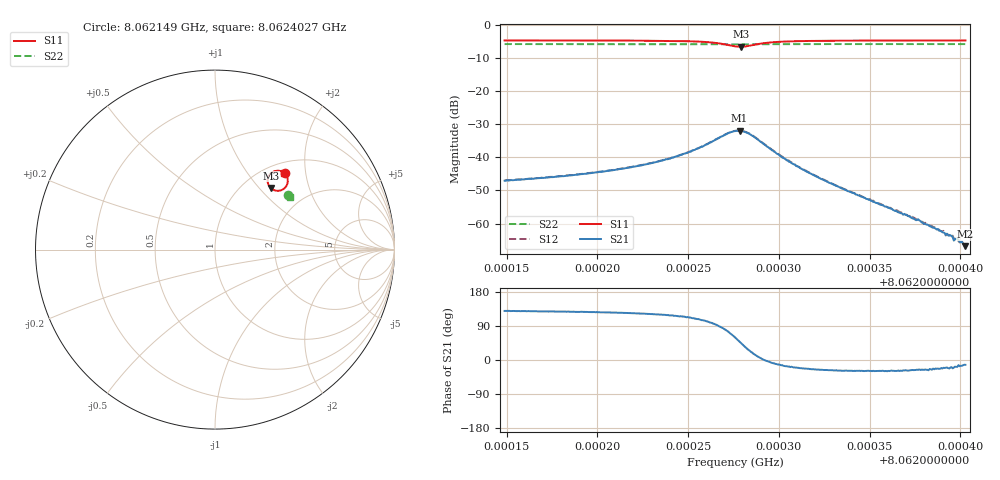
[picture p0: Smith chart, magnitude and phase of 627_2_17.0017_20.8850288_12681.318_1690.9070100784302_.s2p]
#  HZ  S  RI  R  50.00
! Rohde & Schwarz Vector Network Analyzer
! Rohde-Schwarz,ZNB20-2Port,1311601062101988,3.16
! Created: UTC 3/20/2024, 11:20:11 PM
! freq[Hz]  re:S11  im:S11  re:S21  im:S21  re:S12  im:S12  re:S22  im:S22
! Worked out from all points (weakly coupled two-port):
!   401 points, 8.062149 GHz to 8.0624027 GHz, reference 50 ohm
!   highest |S21| = -32.01 dB at 8.0622784 GHz (marker M1); lowest = -66.8 dB at 8.0624027 GHz (marker M2)
!   lowest |S11| = -6.7 dB at 8.062279 GHz (marker M3), VSWR 2.72, Z = 66.3 + j57.8 ohm
!   |S11| at or under -10 dB: nowhere
!   |S22| runs from -6.0 to -5.9 dB; largest |S21 - S12| = 0.0015
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8.06214895e9  0.3879 0.4255  -0.00282 0.00342  -0.00266 0.00363  0.4074 0.3033
8.06219146e9  0.3934 0.4191  -0.00337 0.00443  -0.00313 0.00467  0.4089 0.3009
8.06221366e9  0.3974 0.4135  -0.00379 0.00554  -0.00354 0.00581  0.4098 0.2997
8.06223397e9  0.402 0.4039  -0.00435 0.0075  -0.00393 0.00784  0.4104 0.2983
8.06225046e9  0.4057 0.3869  -0.00453 0.0111  -0.00384 0.0115  0.4111 0.2967
8.06226315e9  0.3994 0.3578  -0.00231 0.0169  -0.00125 0.0173  0.4108 0.2948
8.06227203e9  0.365 0.3294  0.00594 0.0223  0.00727 0.0219  0.4093 0.2936
8.06227584e9  0.3353 0.3292  0.0125 0.0214  0.0138 0.0209  0.4079 0.2939
8.06227838e9  0.315 0.3391  0.0167 0.0187  0.0178 0.018  0.4074 0.2944
8.06227901e9  0.3106 0.3429  0.0176 0.0178  0.0186 0.0169  0.4072 0.2947
8.06228409e9  0.2931 0.3816  0.0203 0.00895  0.0211 0.00791  0.407 0.2963
8.06229361e9  0.3149 0.4283  0.0144 -0.000746  0.0147 -0.00158  0.409 0.2975
8.06230185e9  0.336 0.4383  0.00964 -0.00235  0.00974 -0.00312  0.4103 0.2973
8.06230947e9  0.3488 0.4398  0.00703 -0.00254  0.00678 -0.00295  0.4112 0.297
8.06231835e9  0.3585 0.4392  0.00503 -0.00229  0.00498 -0.0026  0.412 0.2963
8.06233738e9  0.37 0.4361  0.00279 -0.00148  0.00269 -0.00167  0.4128 0.295
8.06236086e9  0.3776 0.4327  0.00149 -0.000836  0.00148 -0.000894  0.414 0.2938
8.06237735e9  0.3811 0.4307  0.00101 -0.000471  0.000981 -0.000528  0.4147 0.2927
8.06239258e9  0.3834 0.429  0.000664 -0.00024  0.000638 -0.000285  0.4152 0.2919
8.06239385e9  0.3836 0.4288  0.000607 -0.00025  0.000617 -0.000264  0.4153 0.2918
8.06239956e9  0.3845 0.4283  0.000511 -0.00015  0.000491 -0.000171  0.4155 0.2916
8.06240273e9  0.3849 0.428  0.000446 -0.000101  0.000456 -0.000143  0.4156 0.2912
